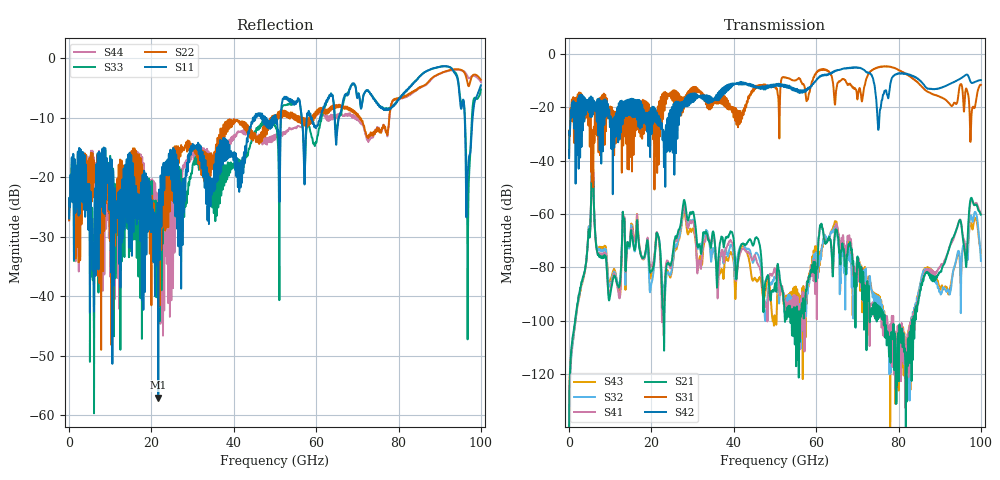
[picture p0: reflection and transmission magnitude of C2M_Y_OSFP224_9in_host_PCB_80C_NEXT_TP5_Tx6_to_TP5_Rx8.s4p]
# GHz S RI R 45
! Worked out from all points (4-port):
!   4000 points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, 25 MHz to 100 GHz, reference 45 ohm
!   strongest paths, dB at 25 MHz, 25.02 GHz, 50.02 GHz, 75.03 GHz, 100 GHz:
!     S42: -39.0, -19.9, -11.5, -27.7, -9.8
!     S31: -38.1, -14.4, -12.4, -5.0, -11.6
!     S21: -139.7, -77.1, -85.9, -99.4, -60.2
!     S41: -139.4, -77.8, -80.3, -94.7, -59.8
!     S32: -135.7, -80.3, -83.9, -92.7, -77.5
!     S43: -131.2, -81.0, -99.4, -90.5, -74.6
!   lowest |S11| = -57.0 dB at 21.68 GHz (marker M1), VSWR 1.00, Z = 45.1 - j0.026 ohm
!   |S11| at or under -10 dB: start of sweep to 44.65 GHz; 58.95 GHz to 60.92 GHz (1.968 GHz wide, 3.28 % of centre); 96.08 GHz to 98 GHz (1.928 GHz wide, 1.99 % of centre) (the widest 3 of 15)
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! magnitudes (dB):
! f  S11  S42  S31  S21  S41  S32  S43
! 25 MHz  -26.9  -39.0  -38.1  -139.7  -139.4  -135.7  -131.2
! 5.7 GHz  -34.8  -16.6  -35.6  -42.8  -42.8  -42.7  -42.7
! 9.6 GHz  -17.9  -24.1  -21.1  -91.4  -90.2  -86.0  -84.7
! 21.68 GHz  -57.0  -23.6  -23.3  -68.2  -68.7  -68.3  -68.9
! 89.45 GHz  -1.5  -13.1  -15.6  -83.1  -81.3  -86.9  -84.9
! 96.9 GHz  -18.6  -8.2  -15.1  -65.1  -67.5  -74.2  -71.0
! 100 GHz  -4.6  -9.8  -11.6  -60.2  -59.8  -77.5  -74.6
